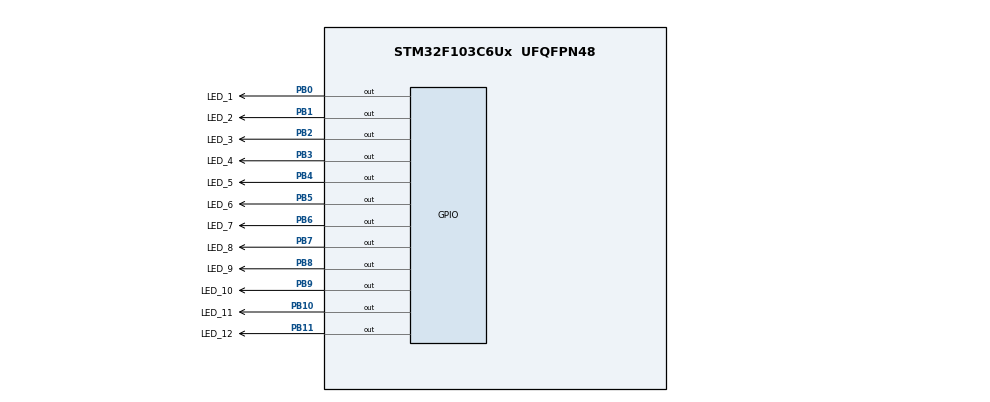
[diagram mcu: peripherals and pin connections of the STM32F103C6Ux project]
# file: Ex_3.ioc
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Mcu.Family=STM32F1
Mcu.Name=STM32F103C6Ux
Mcu.Package=UFQFPN48
NVIC.PriorityGroup=NVIC_PRIORITYGROUP_4
PB0.GPIO_Label=LED_1
PB0.Signal=GPIO_Output
PB1.GPIO_Label=LED_2
PB1.Signal=GPIO_Output
PB10.GPIO_Label=LED_11
PB10.Signal=GPIO_Output
PB11.GPIO_Label=LED_12
PB11.Signal=GPIO_Output
PB2.GPIO_Label=LED_3
PB2.Signal=GPIO_Output
PB3.GPIO_Label=LED_4
PB3.Signal=GPIO_Output
PB4.GPIO_Label=LED_5
PB4.Signal=GPIO_Output
PB5.GPIO_Label=LED_6
PB5.Signal=GPIO_Output
PB6.GPIO_Label=LED_7
PB6.Signal=GPIO_Output
PB7.GPIO_Label=LED_8
PB7.Signal=GPIO_Output
PB8.GPIO_Label=LED_9
PB8.Signal=GPIO_Output
PB9.GPIO_Label=LED_10
PB9.Signal=GPIO_Output
ProjectManager.HeapSize=0x200
ProjectManager.StackSize=0x400
ProjectManager.TargetToolchain=STM32CubeIDE
RCC.APB1Freq_Value=8000000
RCC.APB2Freq_Value=8000000
VP_SYS_VS_ND.Mode=No_Debug
board=custom

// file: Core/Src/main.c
/* USER CODE BEGIN Header */
/**
  ******************************************************************************
  * @file           : main.c
  * @brief          : Main program body
  ******************************************************************************
  * @attention
  *
  * <h2><center>&copy; Copyright (c) 2025 STMicroelectronics.
  * All rights reserved.</center></h2>
  *
  * This software component is licensed by ST under BSD 3-Clause license,
  * the "License"; You may not use this file except in compliance with the
  * License. You may obtain a copy of the License at:
  *                        opensource.org/licenses/BSD-3-Clause
  *
  ******************************************************************************
  */
/* USER CODE END Header */
#include "main.h"

void SystemClock_Config(void);
void set_LEDS(const GPIO_PinState *state);
static void MX_GPIO_Init(void);

/* USER CODE BEGIN 0 */
GPIO_TypeDef *LED_PORTS[12] = {
		LED_1_GPIO_Port, LED_2_GPIO_Port, LED_3_GPIO_Port,
		LED_4_GPIO_Port, LED_5_GPIO_Port, LED_6_GPIO_Port,
		LED_7_GPIO_Port, LED_8_GPIO_Port, LED_9_GPIO_Port,
		LED_10_GPIO_Port, LED_11_GPIO_Port, LED_12_GPIO_Port
};

uint16_t LED_PINS[12] = {
		LED_1_Pin, LED_2_Pin, LED_3_Pin,
		LED_4_Pin, LED_5_Pin, LED_6_Pin,
		LED_7_Pin, LED_8_Pin, LED_9_Pin,
		LED_10_Pin, LED_11_Pin, LED_12_Pin
};

GPIO_PinState LEDS_state[4][12] = {
		{ 1, 1, 0, 0, 0, 0, 1, 1, 0, 0, 0, 0 },
		{ 1, 0, 1, 0, 0, 0, 1, 0, 1, 0, 0, 0 },
		{ 0, 0, 0, 1, 1, 0, 0, 0, 0, 1, 1, 0 },
		{ 0, 0, 0, 1, 0, 1, 0, 0, 0, 1, 0, 1 }
};
/* USER CODE END 0 */

int main(void)
{
  /* USER CODE BEGIN 1 */
	int cnt = 10;
  /* USER CODE END 1 */

  /* MCU Configuration--------------------------------------------------------*/

  /* Reset of all peripherals, Initializes the Flash interface and the Systick. */
  HAL_Init();

  /* Configure the system clock */
  SystemClock_Config();

  /* Initialize all configured peripherals */
  MX_GPIO_Init();

  /* Infinite loop */
  /* USER CODE BEGIN WHILE */
  while (1)
  {
	  switch (cnt) {
	   case 10:
		   set_LEDS(LEDS_state[0]);
		   break;
	  case 7:
		   set_LEDS(LEDS_state[1]);
		   break;
	  case 5:
		   set_LEDS(LEDS_state[2]);
		   break;
	   case 2:
		   set_LEDS(LEDS_state[3]);
		   break;
	   case 1:
		   cnt = 11;
		   break;
	   default:
		   break;
	  }
	  cnt--;
	  HAL_Delay(1000);
    /* USER CODE END WHILE */

  }
}

void SystemClock_Config(void)
{
  RCC_OscInitTypeDef RCC_OscInitStruct = {0};
  RCC_ClkInitTypeDef RCC_ClkInitStruct = {0};

  /** Initializes the RCC Oscillators according to the specified parameters
  * in the RCC_OscInitTypeDef structure.
  */
  RCC_OscInitStruct.OscillatorType = RCC_OSCILLATORTYPE_HSI;
  RCC_OscInitStruct.HSIState = RCC_HSI_ON;
  RCC_OscInitStruct.HSICalibrationValue = RCC_HSICALIBRATION_DEFAULT;
  RCC_OscInitStruct.PLL.PLLState = RCC_PLL_NONE;
  if (HAL_RCC_OscConfig(&RCC_OscInitStruct) != HAL_OK)
  {
    Error_Handler();
  }
  /** Initializes the CPU, AHB and APB buses clocks
  */
  RCC_ClkInitStruct.ClockType = RCC_CLOCKTYPE_HCLK|RCC_CLOCKTYPE_SYSCLK
                              |RCC_CLOCKTYPE_PCLK1|RCC_CLOCKTYPE_PCLK2;
  RCC_ClkInitStruct.SYSCLKSource = RCC_SYSCLKSOURCE_HSI;
  RCC_ClkInitStruct.AHBCLKDivider = RCC_SYSCLK_DIV1;
  RCC_ClkInitStruct.APB1CLKDivider = RCC_HCLK_DIV1;
  RCC_ClkInitStruct.APB2CLKDivider = RCC_HCLK_DIV1;

  if (HAL_RCC_ClockConfig(&RCC_ClkInitStruct, FLASH_LATENCY_0) != HAL_OK)
  {
    Error_Handler();
  }
}

static void MX_GPIO_Init(void)
{
  GPIO_InitTypeDef GPIO_InitStruct = {0};

  /* GPIO Ports Clock Enable */
  __HAL_RCC_GPIOA_CLK_ENABLE();
  __HAL_RCC_GPIOB_CLK_ENABLE();

  /*Configure GPIO pin Output Level */
  HAL_GPIO_WritePin(GPIOA, LED_10_Pin|LED_1_Pin|LED_2_Pin|LED_3_Pin
                          |LED_4_Pin|LED_5_Pin|LED_6_Pin, GPIO_PIN_RESET);

  /*Configure GPIO pin Output Level */
  HAL_GPIO_WritePin(GPIOB, LED_1_Pin|LED_2_Pin|LED_3_Pin|LED_11_Pin
                          |LED_12_Pin|LED_4_Pin|LED_5_Pin|LED_6_Pin
                          |LED_7_Pin|LED_8_Pin|LED_9_Pin|LED_10_Pin, GPIO_PIN_RESET);

  /*Configure GPIO pins : SEG_0_Pin SEG_1_Pin SEG_2_Pin SEG_3_Pin
                           SEG_4_Pin SEG_5_Pin SEG_6_Pin */
  GPIO_InitStruct.Pin = LED_10_Pin|LED_1_Pin|LED_2_Pin|LED_3_Pin
                          |LED_4_Pin|LED_5_Pin|LED_6_Pin;
  GPIO_InitStruct.Mode = GPIO_MODE_OUTPUT_PP;
  GPIO_InitStruct.Pull = GPIO_NOPULL;
  GPIO_InitStruct.Speed = GPIO_SPEED_FREQ_LOW;
  HAL_GPIO_Init(GPIOA, &GPIO_InitStruct);

  /*Configure GPIO pins : LED_1_Pin LED_2_Pin LED_3_Pin LED_11_Pin
                           LED_12_Pin LED_4_Pin LED_5_Pin LED_6_Pin
                           LED_7_Pin LED_8_Pin LED_9_Pin LED_10_Pin */
  GPIO_InitStruct.Pin = LED_1_Pin|LED_2_Pin|LED_3_Pin|LED_11_Pin
                          |LED_12_Pin|LED_4_Pin|LED_5_Pin|LED_6_Pin
                          |LED_7_Pin|LED_8_Pin|LED_9_Pin|LED_10_Pin;
  GPIO_InitStruct.Mode = GPIO_MODE_OUTPUT_PP;
  GPIO_InitStruct.Pull = GPIO_NOPULL;
  GPIO_InitStruct.Speed = GPIO_SPEED_FREQ_LOW;
  HAL_GPIO_Init(GPIOB, &GPIO_InitStruct);

}

/* USER CODE BEGIN 4 */
void set_LEDS(const GPIO_PinState *state) {
	for (int i = 0; i < 12; i++) {
		HAL_GPIO_WritePin(LED_PORTS[i], LED_PINS[i], state[i]);
	}
 }
/* USER CODE END 4 */

void Error_Handler(void)
{
  __disable_irq();
  while (1)
  {
  }
}

/************************ (C) COPYRIGHT STMicroelectronics *****END OF FILE****/
